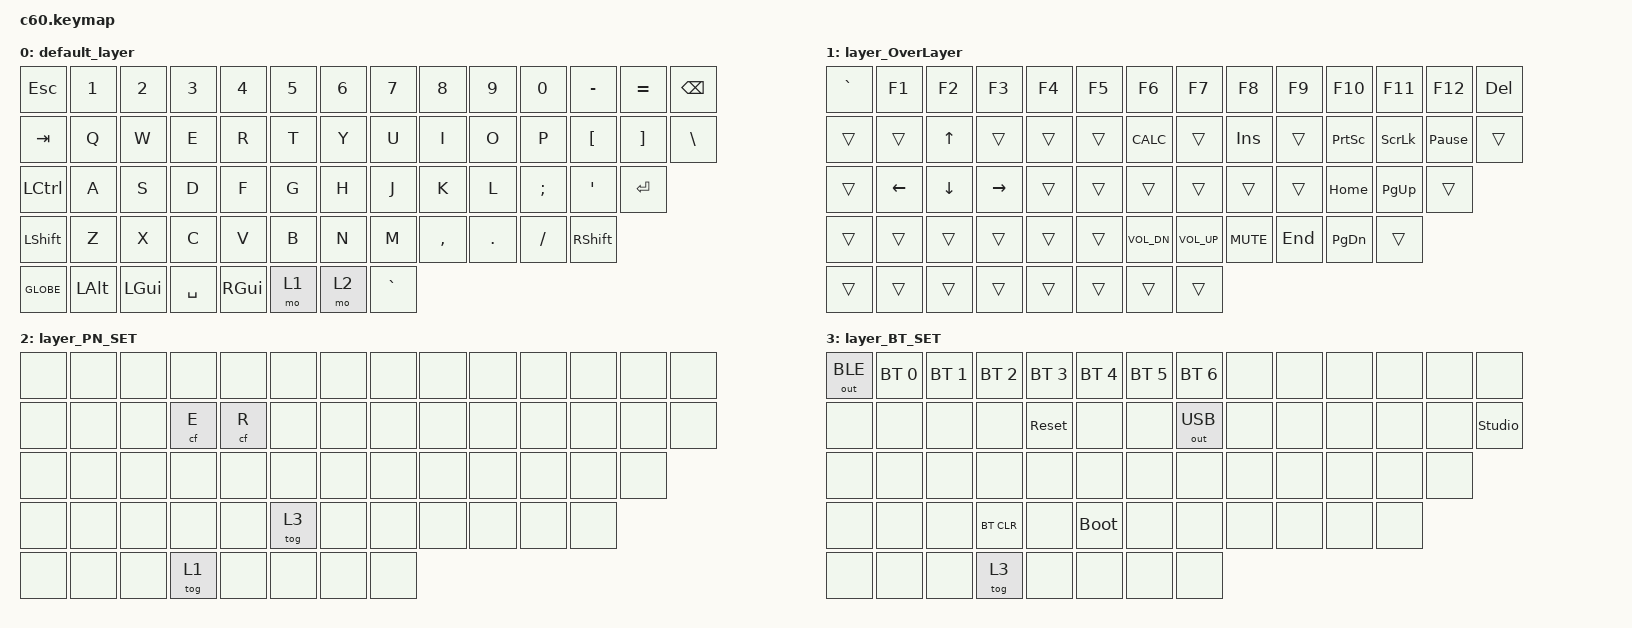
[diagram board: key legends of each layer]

/*
 * Copyright (c) 2020 The ZMK Contributors
 *
 * SPDX-License-Identifier: MIT
 */


/* THIS FILE WAS GENERATED!
 *
 * This file was generated automatically. You may or may not want to
 * edit it directly.
 */

#include <behaviors.dtsi>
#include <dt-bindings/zmk/keys.h>
#include <dt-bindings/zmk/outputs.h>
#include <dt-bindings/zmk/bt.h>

/ {

    behaviors {
        /omit-if-no-ref/ cf: cf {
            compatible = "zmk,behavior-cfire";
            repeat-term-ms = <200>;
            // bindings = <&kp>;
            #binding-cells = <1>;
        };
    };
    keymap {
        compatible = "zmk,keymap";


        default_layer {
            bindings = <
   &kp ESC    &kp N1    &kp N2     &kp N3    &kp N4  &kp N5            &kp N6     &kp N7     &kp N8   &kp N9    &kp N0  &kp MINUS  &kp EQUAL  &kp BSPC
   &kp TAB     &kp Q     &kp W      &kp E     &kp R   &kp T             &kp Y      &kp U      &kp I    &kp O     &kp P   &kp LBKT   &kp RBKT  &kp BSLH
 &kp LCTRL     &kp A     &kp S      &kp D     &kp F   &kp G             &kp H      &kp J      &kp K    &kp L  &kp SEMI    &kp SQT    &kp RET
 &kp LSHFT     &kp Z     &kp X      &kp C     &kp V   &kp B             &kp N      &kp M  &kp COMMA  &kp DOT  &kp FSLH  &kp RSHFT
 &kp GLOBE  &kp LALT  &kp LGUI  &kp SPACE  &kp RGUI   &mo 1             &mo 2  &kp GRAVE
            >;
        };

        layer_OverLayer {
            bindings = <
 &kp GRAVE    &kp F1    &kp F2     &kp F3  &kp F4  &kp F5                  &kp F6        &kp F7      &kp F8   &kp F9          &kp F10         &kp F11          &kp F12  &kp DEL
    &trans    &trans    &kp UP     &trans  &trans  &trans              &kp K_CALC        &trans  &kp INSERT   &trans  &kp PRINTSCREEN  &kp SCROLLLOCK  &kp PAUSE_BREAK   &trans
    &trans  &kp LEFT  &kp DOWN  &kp RIGHT  &trans  &trans                  &trans        &trans      &trans   &trans         &kp HOME     &kp PAGE_UP           &trans
    &trans    &trans    &trans     &trans  &trans  &trans            &kp K_VOL_DN  &kp C_VOL_UP  &kp K_MUTE  &kp END    &kp PAGE_DOWN          &trans
    &trans    &trans    &trans     &trans  &trans  &trans                  &trans        &trans
            >;
        };

        layer_PN_SET {
            bindings = <
  &none   &none   &none   &none   &none   &none            &none   &none   &none   &none   &none   &none   &none   &none
  &none   &none   &none   &cf E   &cf R   &none            &none   &none   &none   &none   &none   &none   &none   &none
  &none   &none   &none   &none   &none   &none            &none   &none   &none   &none   &none   &none   &none
  &none   &none   &none   &none   &none  &tog 3            &none   &none   &none   &none   &none   &none
  &none   &none   &none  &tog 1   &none   &none            &none   &none
            >;
        };

        layer_BT_SET {
            bindings = <
 &out OUT_BLE  &bt BT_SEL 0  &bt BT_SEL 1  &bt BT_SEL 2  &bt BT_SEL 3  &bt BT_SEL 4            &bt BT_SEL 5         &bt BT_SEL 6   &none   &none   &none   &none   &none   &none
        &none         &none         &none         &none        &sys_reset         &none            &none  &out OUT_USB   &none   &none   &none   &none   &none   &studio_unlock
        &none         &none         &none         &none         &none         &none            &none         &none   &none   &none   &none   &none   &none
        &none         &none         &none    &bt BT_CLR         &none   &bootloader            &none         &none   &none   &none   &none   &none
        &none         &none         &none        &tog 3         &none         &none            &none         &none
            >;
        };

    };
};
